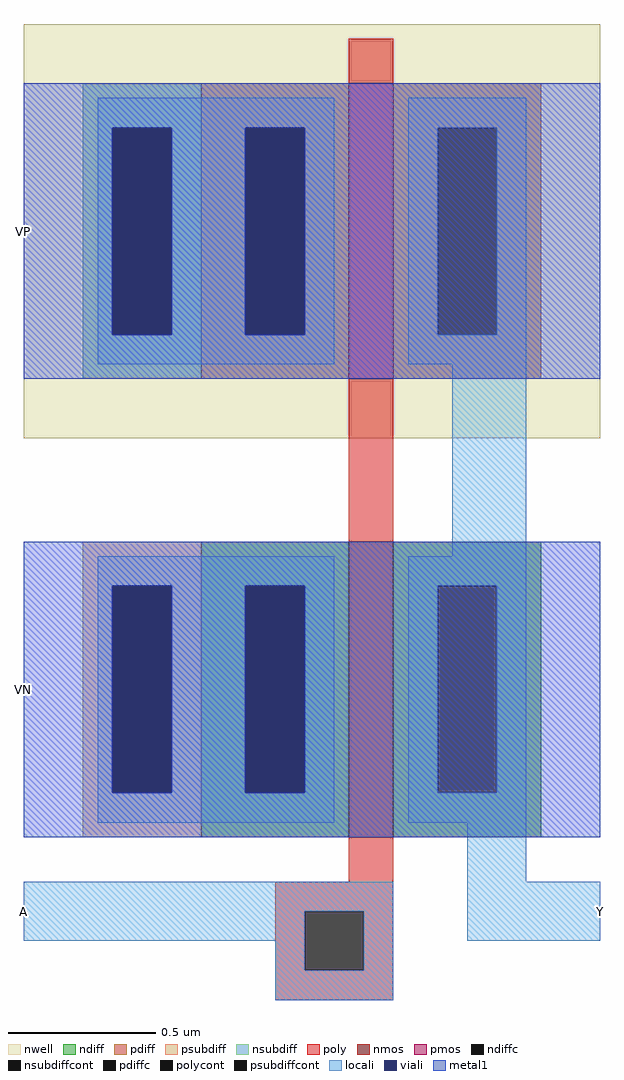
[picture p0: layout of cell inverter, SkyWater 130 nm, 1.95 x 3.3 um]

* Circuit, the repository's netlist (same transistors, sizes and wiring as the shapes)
* NGSPICE file created from inverter.ext - technology: sky130A

.subckt inverter A Y VP VN
X0 Y A VP VP sky130_fd_pr__pfet_01v8 ad=0.5 pd=3 as=0.5 ps=3 w=1 l=0.15
X1 Y A VN VN sky130_fd_pr__nfet_01v8 ad=0.5 pd=3 as=0.5 ps=3 w=1 l=0.15
.ends

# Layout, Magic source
magic
tech sky130A
<< nwell >>
rect -115 125 80 265
<< nmos >>
rect -5 -10 10 90
<< pmos >>
rect -5 145 10 245
<< ndiff >>
rect -55 75 -5 90
rect -55 5 -40 75
rect -20 5 -5 75
rect -55 -10 -5 5
rect 10 75 60 90
rect 10 5 25 75
rect 45 5 60 75
rect 10 -10 60 5
<< pdiff >>
rect -55 230 -5 245
rect -55 160 -40 230
rect -20 160 -5 230
rect -55 145 -5 160
rect 10 230 60 245
rect 10 160 25 230
rect 45 160 60 230
rect 10 145 60 160
<< ndiffc >>
rect -40 5 -20 75
rect 25 5 45 75
<< pdiffc >>
rect -40 160 -20 230
rect 25 160 45 230
<< psubdiff >>
rect -95 75 -55 90
rect -95 5 -85 75
rect -65 5 -55 75
rect -95 -10 -55 5
<< nsubdiff >>
rect -95 230 -55 245
rect -95 160 -85 230
rect -65 160 -55 230
rect -95 145 -55 160
<< psubdiffcont >>
rect -85 5 -65 75
<< nsubdiffcont >>
rect -85 160 -65 230
<< poly >>
rect -5 245 10 260
rect -5 90 10 145
rect -5 -25 10 -10
rect -30 -35 10 -25
rect -30 -55 -20 -35
rect 0 -55 10 -35
rect -30 -65 10 -55
<< polycont >>
rect -20 -55 0 -35
<< locali >>
rect -90 230 -10 240
rect -90 160 -85 230
rect -65 160 -40 230
rect -20 160 -10 230
rect -90 150 -10 160
rect 15 230 55 240
rect 15 160 25 230
rect 45 160 55 230
rect 15 150 55 160
rect 30 85 55 150
rect -90 75 -10 85
rect -90 5 -85 75
rect -65 5 -40 75
rect -20 5 -10 75
rect -90 -5 -10 5
rect 15 75 55 85
rect 15 5 25 75
rect 45 5 55 75
rect 15 -5 55 5
rect 35 -25 55 -5
rect -115 -35 10 -25
rect -115 -45 -20 -35
rect -30 -55 -20 -45
rect 0 -55 10 -35
rect 35 -45 80 -25
rect -30 -65 10 -55
<< viali >>
rect -85 160 -65 230
rect -40 160 -20 230
rect -85 5 -65 75
rect -40 5 -20 75
<< metal1 >>
rect -115 230 80 245
rect -115 160 -85 230
rect -65 160 -40 230
rect -20 160 80 230
rect -115 145 80 160
rect -115 75 80 90
rect -115 5 -85 75
rect -65 5 -40 75
rect -20 5 80 75
rect -115 -10 80 5
<< labels >>
rlabel locali -115 -35 -115 -35 7 A
port 1 w
rlabel locali 80 -35 80 -35 3 Y
port 2 e
rlabel metal1 -115 195 -115 195 7 VP
port 3 w
rlabel metal1 -115 40 -115 40 7 VN
port 4 w
<< end >>
